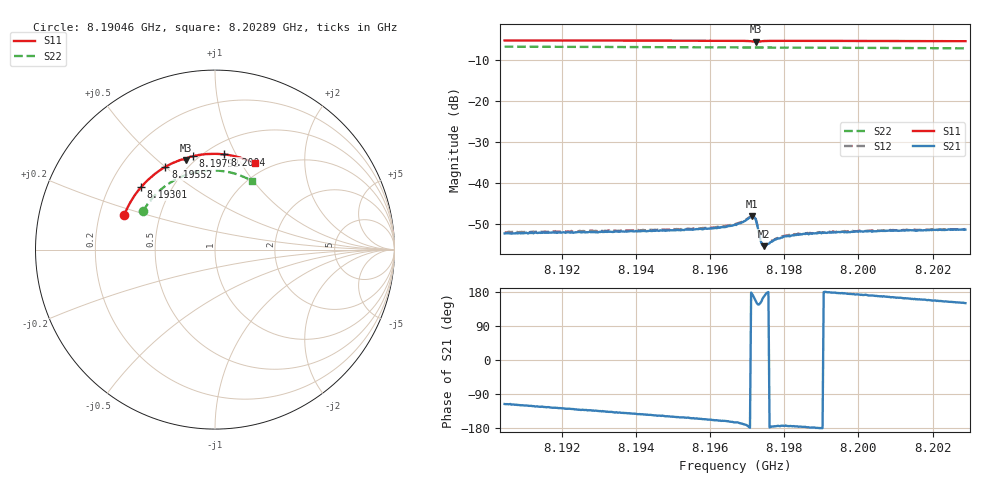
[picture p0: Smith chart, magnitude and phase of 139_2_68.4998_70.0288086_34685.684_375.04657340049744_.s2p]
#  HZ  S  RI  R  50.00
! Rohde & Schwarz Vector Network Analyzer
! Rohde-Schwarz,ZNB20-2Port,1311601062101988,3.16
! Created: UTC 3/20/2024, 4:54:48 PM
! freq[Hz]  re:S11  im:S11  re:S21  im:S21  re:S12  im:S12  re:S22  im:S22
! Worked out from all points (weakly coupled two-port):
!   401 points, 8.19046 GHz to 8.20289 GHz, reference 50 ohm
!   highest |S21| = -48.17 dB at 8.19714 GHz (marker M1); lowest = -55.5 dB at 8.19745 GHz (marker M2)
!   lowest |S11| = -5.6 dB at 8.19723 GHz (marker M3), VSWR 3.19, Z = 22.7 + j31.1 ohm
!   |S11| at or under -10 dB: nowhere
!   |S22| runs from -7.3 to -6.9 dB; largest |S21 - S12| = 0.00023
!   S11 on the Smith chart (normalised r, x): 8.19046 GHz: 0.31, +0.17; 8.19301 GHz: 0.34, +0.33; 8.19552 GHz: 0.39, +0.50; 8.19792 GHz: 0.47, +0.68; 8.2004 GHz: 0.61, +0.90; 8.20289 GHz: 0.86, +1.15
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8.19046e9  -0.5043 0.1951  -0.00106 -0.00216  -0.00117 -0.00221  -0.4004 0.214
8.192541e9  -0.4328 0.3223  -0.00165 -0.00185  -0.00174 -0.00188  -0.3316 0.3063
8.193007e9  -0.4123 0.3478  -0.00178 -0.00179  -0.00188 -0.00179  -0.3131 0.3243
8.194623e9  -0.3295 0.4255  -0.00216 -0.00143  -0.00227 -0.00139  -0.2411 0.3784
8.195523e9  -0.2765 0.4609  -0.0024 -0.00118  -0.00251 -0.0011  -0.1966 0.4015
8.196145e9  -0.2373 0.4816  -0.00263 -0.00101  -0.0027 -0.000926  -0.1643 0.4148
8.196673e9  -0.2017 0.4965  -0.00297 -0.000824  -0.00302 -0.000699  -0.1361 0.424
8.19689e9  -0.1856 0.5012  -0.00326 -0.00065  -0.00338 -0.000517  -0.1243 0.4272
8.197139e9  -0.1652 0.5008  -0.00388 0.000439  -0.0039 0.000631  -0.1106 0.4304
8.197201e9  -0.1626 0.498  -0.00358 0.00117  -0.00364 0.00135  -0.1073 0.431
8.197232e9  -0.1628 0.4966  -0.00324 0.00147  -0.00322 0.00166  -0.1057 0.4312
8.197356e9  -0.1637 0.502  -0.00176 0.000995  -0.00173 0.00111  -0.099 0.4329
8.197387e9  -0.1623 0.5041  -0.00166 0.000775  -0.00167 0.000828  -0.0973 0.4332
8.197449e9  -0.1583 0.5079  -0.00164 0.000383  -0.00164 0.000464  -0.094 0.4339
8.197511e9  -0.1538 0.5106  -0.00171 0.000137  -0.00173 0.000226  -0.0904 0.4346
8.19776e9  -0.1351 0.5177  -0.00202 -0.000177  -0.00206 -0.000125  -0.0766 0.4368
8.197915e9  -0.124 0.5205  -0.00212 -0.000245  -0.00218 -0.00013  -0.0679 0.4381
8.198319e9  -0.095 0.5265  -0.0023 -0.00019  -0.00235 -9.52e-05  -0.045 0.4402
8.198754e9  -0.0641 0.5308  -0.00238 -8.6e-05  -0.00242 5.25e-05  -0.0206 0.4411
8.2004e9  0.0524 0.5303  -0.00254 0.000448  -0.00254 0.000598  0.0722 0.4327
8.200835e9  0.0828 0.5258  -0.00255 0.000607  -0.00253 0.000756  0.0964 0.4272
8.202886e9  0.2206 0.4814  -0.00233 0.00134  -0.0023 0.00145  0.2044 0.3826
